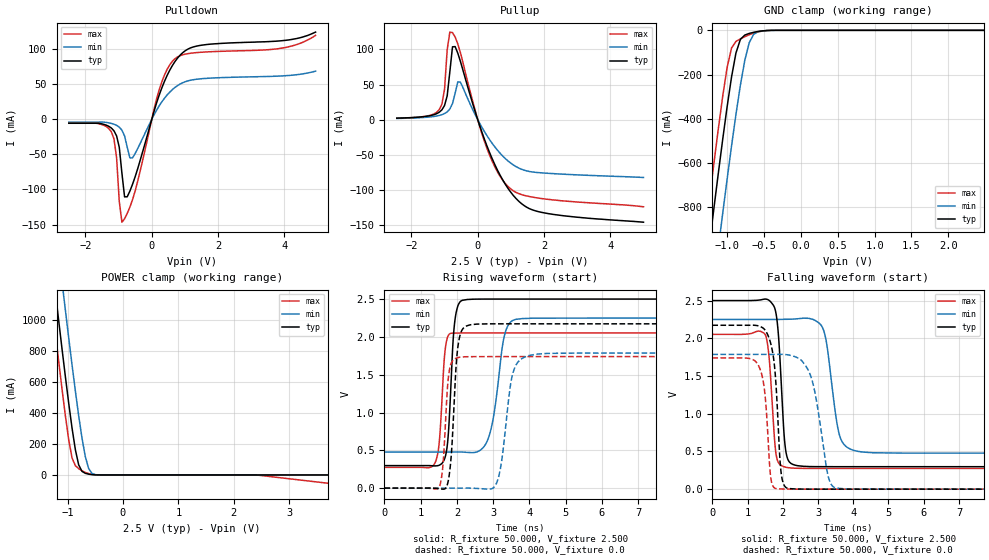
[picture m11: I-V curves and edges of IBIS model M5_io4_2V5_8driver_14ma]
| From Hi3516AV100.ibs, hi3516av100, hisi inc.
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|   Model M5_io4_2V5_8driver_14ma
[Model] M5_io4_2V5_8driver_14ma
Model_type I/O
Enable   Active-Low
C_comp   3.370pF   3.056pF   3.524pF
C_comp_pullup   1.766pF   1.633pF   1.832pF
C_comp_pulldown   1.392pF   1.296pF   1.437pF
[Temperature Range]   25.000   0.125k   -40.000
[Voltage Range]   2.500V   2.250V   1.970V
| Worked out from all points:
|   slope of the pulldown table from 0 to 0.375 V, typ, clamps not added: 7.04 ohm
|   slope of the pullup table from 0 to 0.375 V, typ, clamps not added: 7.65 ohm
|   GND clamp passes 1 mA (typ) near -0.46 V on its own axis
|   POWER clamp passes 1 mA (typ) near -0.51 V on its own axis
|   rising waveform, R_fixture 50.000, V_fixture 2.500: 20-80 % time 145ps typ, 297ps min, 133ps max; typ from 0.298 V to 2.5 V
|   rising waveform, R_fixture 50.000, V_fixture 0.0: 20-80 % time 154ps typ, 268ps min, 128ps max; typ from 0 V to 2.17 V
|   falling waveform, R_fixture 50.000, V_fixture 2.500: 20-80 % time 161ps typ, 297ps min, 150ps max; typ from 2.5 V to 0.298 V
|   falling waveform, R_fixture 50.000, V_fixture 0.0: 20-80 % time 176ps typ, 377ps min, 164ps max; typ from 2.17 V to 0 V
[Pulldown]
|Voltage   I(typ)   I(min)   I(max)
-2.5V     -5.628mA   -4.08mA    -5.353mA
-1.22V    -12.35mA   -5.827mA   -17.74mA
-1.06V    -23.71mA   -8.591mA   -55.06mA
-980mV    -39.87mA   -11.13mA   -117mA
-900mV    -76.74mA   -15.47mA   -146.6mA
-820mV    -110.5mA   -23.77mA   -141.7mA
-580mV    -92.59mA   -54.92mA   -114.5mA
220mV     33.94mA    18.89mA    41.44mA
700mV     82.34mA    45.44mA    86.36mA
1.42V     105mA      57.48mA    95.32mA
3.82V     111.6mA    61.58mA    100.7mA
4.94V     124.3mA    68.66mA    119.6mA
[Pullup]
|Voltage   I(typ)   I(min)   I(max)
-2.44V    2.017mA    1.608mA    1.925mA
-1.16V    10.44mA    5.859mA    14.06mA
-1V       20.05mA    8.545mA    43.04mA
-920mV    33.85mA    10.97mA    99.49mA
-840mV    68.03mA    15.06mA    124.8mA
-760mV    103.8mA    22.75mA    124.1mA
-600mV    94.71mA    53.87mA    107.9mA
-520mV    82.83mA    53.28mA    95.22mA
200mV     -27.68mA   -16.9mA    -30.56mA
920mV     -98.58mA   -59.27mA   -95.75mA
1.8V      -131mA     -75.52mA   -111.8mA
5V        -146.4mA   -82.63mA   -124.4mA
[GND_clamp]
|Voltage   I(typ)   I(min)   I(max)
-2.5V     -4.513A    -4.806A    -4.339A
-1.3V     -1.133A    -1.473A    -929.4mA
-1.24V    -968.9mA   -1.309A    -765.1mA
-1.18V    -806.9mA   -1.146A    -603.8mA
-1.12V    -647.9mA   -985.9mA   -447.1mA
-1.06V    -493.3mA   -827.8mA   -298.8mA
-940mV    -211.1mA   -522.9mA   -79.95mA
-880mV    -102.3mA   -379.7mA   -50.17mA
-760mV    -21.48mA   -135.2mA   -28.76mA
-640mV    -8.835mA   -17.88mA   -12.82mA
-520mV    -2.442mA   -2.565mA   -3.235mA
2.48V     0A         0A         0A
[POWER_clamp]
|Voltage   I(typ)   I(min)   I(max)
-2.48V    5.235A     5.657A     4.984A
-1.34V    1.553A     1.99A      1.289A
-1.28V    1.365A     1.802A     1.101A
-1.22V    1.178A     1.615A     914.7mA
-1.1V     812mA      1.246A     552.9mA
-1.04V    634.5mA    1.064A     382.2mA
-920mV    303.2mA    711.2mA    110.1mA
-800mV    65.14mA    382.9mA    41mA
-680mV    10.64mA    118.3mA    16.27mA
-440mV    158.4uA    434.1uA    224.4uA
2.44V     -46.26uA   -2.741nA   -1.326mA
5V        -48.94uA   -60.57nA   -107mA
[Ramp]
| variable   typ   min   max
dV/dt_r   1.303/0.158n   1.072/0.272n   1.043/0.132n
dV/dt_f   1.321/0.168n   1.064/0.303n   1.071/0.146n
R_load = 50.000
[Rising Waveform]
R_fixture= 50.000
V_fixture= 2.500
V_fixture_min= 2.250
V_fixture_max= 2.750
|time   V(typ)   V(min)   V(max)
0s        298mV      477.5mV    274.9mV
1.386ns   293.9mV    477.5mV    325.7mV
1.516ns   304.4mV    477.5mV    627.3mV
1.645ns   370.9mV    477.4mV    1.672V
1.765ns   731.9mV    477.4mV    2.021V
1.939ns   2.197V     477.6mV    2.05V
2.148ns   2.484V     477.3mV    2.052V
2.854ns   2.5V       644.1mV    2.052V
3.534ns   2.5V       2.216V     2.052V
10ns      2.5V       2.25V      2.052V
[Rising Waveform]
R_fixture= 50.000
V_fixture= 0.0
V_fixture_min= 0.0
V_fixture_max= 0.0
|time   V(typ)   V(min)   V(max)
0s        240.1uV    0V         166.3uV
1.49ns    -6.421mV   5.069uV    -158.6uV
1.714ns   18.58mV    0V         1.138V
1.842ns   423.8mV    -20.08uV   1.652V
2.018ns   1.835V     -20.17uV   1.724V
2.258ns   2.142V     810.5uV    1.737V
3.084ns   2.173V     56.66mV    1.739V
3.514ns   2.173V     1.461V     1.739V
3.884ns   2.173V     1.736V     1.739V
10ns      2.173V     1.786V     1.739V
[Falling Waveform]
R_fixture= 50.000
V_fixture= 2.500
V_fixture_min= 2.250
V_fixture_max= 2.750
|time   V(typ)   V(min)   V(max)
0s        2.5V       2.25V      2.052V
1.495ns   2.52V      2.25V      2.053V
1.746ns   2.426V     2.25V      787.1mV
1.874ns   2.053V     2.25V      354.2mV
2.067ns   566.6mV    2.252V     293mV
2.283ns   328.5mV    2.254V     279.3mV
3.132ns   298.2mV    2.136V     274.9mV
3.591ns   298mV      747.8mV    274.9mV
3.931ns   298mV      528.1mV    274.9mV
10ns      298mV      477.5mV    274.9mV
[Falling Waveform]
R_fixture= 50.000
V_fixture= 0.0
V_fixture_min= 0.0
V_fixture_max= 0.0
|time   V(typ)   V(min)   V(max)
0s        2.173V     1.786V     1.739V
1.266ns   2.169V     1.786V     1.67V
1.454ns   2.13V      1.786V     1.4V
1.574ns   2.044V     1.786V     733.7mV
1.694ns   1.856V     1.786V     69.13mV
1.945ns   246.7mV    1.787V     3.472mV
2.107ns   16.09mV    1.783V     1.318mV
2.782ns   446.1uV    1.512V     176.5uV
3.453ns   243.7uV    25.79mV    166.6uV
10ns      240.1uV    0V         166.3uV
